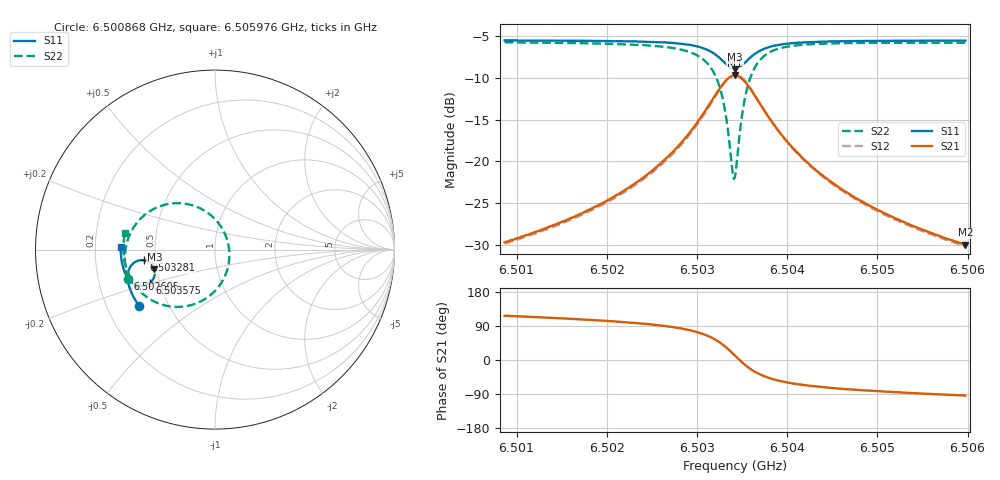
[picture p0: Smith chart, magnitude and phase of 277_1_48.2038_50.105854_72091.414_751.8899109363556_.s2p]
#  HZ  S  RI  R  50.00
! Rohde & Schwarz Vector Network Analyzer
! Rohde-Schwarz,ZNB20-2Port,1311601062101988,3.16
! Created: UTC 3/20/2024, 11:48:30 AM
! freq[Hz]  re:S11  im:S11  re:S21  im:S21  re:S12  im:S12  re:S22  im:S22
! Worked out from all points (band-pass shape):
!   401 points, 6.500868 GHz to 6.505976 GHz, reference 50 ohm
!   highest |S21| = -9.74 dB at 6.503422 GHz (marker M1); lowest = -29.9 dB at 6.505976 GHz (marker M2)
!   |S21| within 3 dB of the highest: 6.503165 GHz to 6.503676 GHz (511.1 kHz wide, 0.00786 % of centre)
!   lowest |S11| = -9.0 dB at 6.503422 GHz (marker M3), VSWR 2.10, Z = 24.2 - j6.07 ohm
!   |S11| at or under -10 dB: nowhere
!   |S22| runs from -22.1 to -5.8 dB; largest |S21 - S12| = 0.011
!   S11 on the Smith chart (normalised r, x): 6.500868 GHz: 0.34, -0.30; 6.502605 GHz: 0.33, -0.15; 6.503281 GHz: 0.43, -0.06; 6.503575 GHz: 0.44, -0.20; 6.505976 GHz: 0.31, +0.01
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6.5008678e9  -0.4225 -0.3142  -0.0148 0.0295  -0.0133 0.0296  -0.4874 -0.1615
6.5017234e9  -0.4599 -0.2517  -0.0143 0.0469  -0.0121 0.0465  -0.5019 -0.0718
6.5021959e9  -0.4767 -0.2103  -0.0115 0.066  -0.00859 0.0652  -0.4996 -0.00574
6.502579e9  -0.4861 -0.1685  -0.00266 0.0953  0.000868 0.0931  -0.4808 0.0694
6.5026046e9  -0.4863 -0.1653  -0.00149 0.0981  0.002 0.0957  -0.4783 0.0757
6.5028472e9  -0.4849 -0.1295  0.0181 0.1321  0.0217 0.1282  -0.4372 0.1466
6.503026e9  -0.4721 -0.0958  0.0552 0.1688  0.0583 0.1633  -0.3643 0.2132
6.5031792e9  -0.4385 -0.0656  0.1295 0.1989  0.1306 0.1925  -0.2285 0.2581
6.5032814e9  -0.3957 -0.0592  0.215 0.1893  0.2151 0.184  -0.0797 0.2286
6.5033325e9  -0.3703 -0.0681  0.2628 0.1607  0.2637 0.1562  -2.2e-05 0.1701
6.5033963e9  -0.3441 -0.0948  0.3098 0.0967  0.3121 0.0917  0.07 0.0473
6.5034219e9  -0.338 -0.1093  0.3195 0.0647  0.3225 0.0589  0.0799 -0.0124
6.5034346e9  -0.3362 -0.1171  0.3218 0.0478  0.3251 0.0418  0.0803 -0.0427
6.5035113e9  -0.3427 -0.1616  0.304 -0.0455  0.3059 -0.0553  0.0208 -0.2059
6.5035751e9  -0.364 -0.1867  0.2612 -0.0985  0.2599 -0.1094  -0.0753 -0.2867
6.5036773e9  -0.403 -0.2014  0.1873 -0.1337  0.1822 -0.1429  -0.2233 -0.3191
6.5038433e9  -0.4485 -0.1915  0.1069 -0.1305  0.1001 -0.1352  -0.3681 -0.2725
6.5040221e9  -0.4758 -0.1701  0.0631 -0.1105  0.057 -0.1127  -0.4389 -0.2082
6.5042775e9  -0.4962 -0.1402  0.0336 -0.0866  0.0288 -0.0871  -0.4819 -0.1366
6.5046606e9  -0.5117 -0.1007  0.0147 -0.0636  0.0115 -0.0634  -0.5039 -0.0621
6.5051331e9  -0.521 -0.0572  0.00496 -0.0474  0.0027 -0.0467  -0.5099 0.00349
6.5059759e9  -0.5259 0.0138  -0.00208 -0.0319  -0.00342 -0.0311  -0.5018 0.0919
